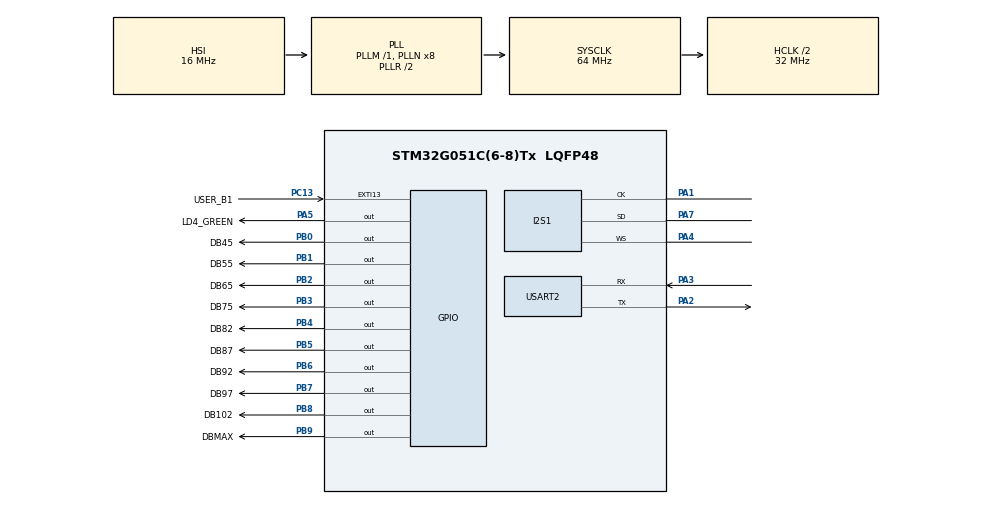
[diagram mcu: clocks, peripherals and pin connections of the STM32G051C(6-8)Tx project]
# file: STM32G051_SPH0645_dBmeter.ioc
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Dma.Request0=SPI1_RX
Dma.SPI1_RX.0.Direction=DMA_PERIPH_TO_MEMORY
Dma.SPI1_RX.0.EventEnable=DISABLE
Dma.SPI1_RX.0.Instance=DMA1_Channel1
Dma.SPI1_RX.0.MemDataAlignment=DMA_MDATAALIGN_HALFWORD
Dma.SPI1_RX.0.MemInc=DMA_MINC_ENABLE
Dma.SPI1_RX.0.Mode=DMA_CIRCULAR
Dma.SPI1_RX.0.PeriphDataAlignment=DMA_PDATAALIGN_HALFWORD
Dma.SPI1_RX.0.PeriphInc=DMA_PINC_DISABLE
Dma.SPI1_RX.0.Polarity=HAL_DMAMUX_REQ_GEN_RISING
Dma.SPI1_RX.0.Priority=DMA_PRIORITY_LOW
Dma.SPI1_RX.0.RequestNumber=1
Dma.SPI1_RX.0.SignalID=NONE
Dma.SPI1_RX.0.SyncEnable=DISABLE
Dma.SPI1_RX.0.SyncPolarity=HAL_DMAMUX_SYNC_NO_EVENT
Dma.SPI1_RX.0.SyncRequestNumber=1
Dma.SPI1_RX.0.SyncSignalID=NONE
I2S1.AudioFreq=I2S_AUDIOFREQ_16K
I2S1.DataFormat=I2S_DATAFORMAT_24B
I2S1.ErrorAudioFreq=-0.79 %
I2S1.FullDuplexMode=I2S_FULLDUPLEXMODE_DISABLE
I2S1.Instance=SPI$Index
I2S1.Mode=I2S_MODE_MASTER_RX
I2S1.RealAudioFreq=15.873 KHz
I2S1.VirtualMode=I2S_MODE_MASTER
Mcu.Family=STM32G0
Mcu.Name=STM32G051C(6-8)Tx
Mcu.Package=LQFP48
Mcu.UserConstants=TMR3_RES_FREQ_KHZ,1;TMR3_PERIOD,((TMR3_RES_FREQ_KHZ*MIC_SETTLING_PERIOD_MS)-1);TMR3_PRESCALER,((SYSCLK_FREQ_HZ/(1000*TMR3_RES_FREQ_KHZ))-1);SYSCLK_FREQ_HZ,32000000U
NVIC.DMA1_Channel1_IRQn=true\:2\:0\:true\:false\:true\:false\:true\:true
NVIC.SPI1_IRQn=true\:1\:0\:true\:false\:true\:true\:true\:true
PA1.GPIO_Speed=GPIO_SPEED_FREQ_MEDIUM
PA1.Mode=Half_Duplex_Master
PA1.Signal=I2S1_CK
PA13.Mode=Serial_Wire
PA13.Signal=SYS_SWDIO
PA14-BOOT0.Mode=Serial_Wire
PA14-BOOT0.Signal=SYS_SWCLK
PA2.GPIO_Speed=GPIO_SPEED_FREQ_MEDIUM
PA2.Mode=Asynchronous
PA2.Signal=USART2_TX
PA3.GPIO_Speed=GPIO_SPEED_FREQ_MEDIUM
PA3.Mode=Asynchronous
PA3.Signal=USART2_RX
PA4.GPIO_Speed=GPIO_SPEED_FREQ_MEDIUM
PA4.Mode=Half_Duplex_Master
PA4.Signal=I2S1_WS
PA5.GPIO_Label=LD4_GREEN
PA5.Signal=GPIO_Output
PA7.GPIO_PuPd=GPIO_PULLDOWN
PA7.GPIO_Speed=GPIO_SPEED_FREQ_MEDIUM
PA7.Mode=Half_Duplex_Master
PA7.Signal=I2S1_SD
PB0.GPIO_Label=DB45
PB0.GPIO_Speed=GPIO_SPEED_FREQ_HIGH
PB0.Signal=GPIO_Output
PB1.GPIO_Label=DB55
PB1.GPIO_Speed=GPIO_SPEED_FREQ_HIGH
PB1.Signal=GPIO_Output
PB2.GPIO_Label=DB65
PB2.GPIO_Speed=GPIO_SPEED_FREQ_HIGH
PB2.Signal=GPIO_Output
PB3.GPIO_Label=DB75
PB3.GPIO_Speed=GPIO_SPEED_FREQ_HIGH
PB3.Signal=GPIO_Output
PB4.GPIO_Label=DB82
PB4.GPIO_Speed=GPIO_SPEED_FREQ_HIGH
PB4.Signal=GPIO_Output
PB5.GPIO_Label=DB87
PB5.GPIO_Speed=GPIO_SPEED_FREQ_HIGH
PB5.Signal=GPIO_Output
PB6.GPIO_Label=DB92
PB6.GPIO_Speed=GPIO_SPEED_FREQ_HIGH
PB6.Signal=GPIO_Output
PB7.GPIO_Label=DB97
PB7.GPIO_Speed=GPIO_SPEED_FREQ_HIGH
PB7.Signal=GPIO_Output
PB8.GPIO_Label=DB102
PB8.GPIO_Speed=GPIO_SPEED_FREQ_HIGH
PB8.Signal=GPIO_Output
PB9.GPIO_Label=DBMAX
PB9.GPIO_Speed=GPIO_SPEED_FREQ_HIGH
PB9.Signal=GPIO_Output
PC13.GPIO_Label=USER_B1
PC13.Signal=GPXTI13
ProjectManager.HeapSize=0x200
ProjectManager.StackSize=0x400
ProjectManager.TargetToolchain=STM32CubeIDE
RCC.ADCFreq_Value=64000000
RCC.AHBCLKDivider=RCC_SYSCLK_DIV2
RCC.AHBFreq_Value=32000000
RCC.CortexFreq_Value=32000000
RCC.EXTERNAL_CLOCK_VALUE=48000
RCC.HCLKFreq_Value=32000000
RCC.HSE_VALUE=8000000
RCC.HSI_VALUE=16000000
RCC.LSE_VALUE=32768
RCC.SYSCLKFreq_VALUE=64000000
RCC.SYSCLKSource=RCC_SYSCLKSOURCE_PLLCLK
RCC.VCOOutputFreq_Value=128000000
TIM3.Period=TMR3_PERIOD
TIM3.Prescaler=TMR3_PRESCALER
USART2.VirtualMode-Asynchronous=VM_ASYNC
VP_SYS_VS_DBSignals.Mode=DisableDeadBatterySignals
VP_TIM3_VS_ClockSourceINT.Mode=Internal
board=custom

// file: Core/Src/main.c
/* USER CODE BEGIN Header */
/**
  ******************************************************************************
  * @file           : main.c
  * @brief          : Main program body
  ******************************************************************************
  * @attention
  *
  * Copyright (c) 2024 STMicroelectronics.
  * All rights reserved.
  *
  * This software is licensed under terms that can be found in the LICENSE file
  * in the root directory of this software component.
  * If no LICENSE file comes with this software, it is provided AS-IS.
  *
  ******************************************************************************
  */
/* USER CODE END Header */
#include "main.h"

/* USER CODE BEGIN Includes */
// Demo program for decibel sound meter project.
// Define TESTS to run system tests, otherwise the program
// will continually print A-weighted sound pressure level (SPL dBA)
// and peak sound amplitude (mPa) over the serial port.

#include <stdbool.h>
#include "print_functions.h"
#include "sound_measurement.h"
#include <string.h>

/* USER CODE END Includes */

I2S_HandleTypeDef hi2s1;
DMA_HandleTypeDef hdma_spi1_rx;

TIM_HandleTypeDef htim3;

UART_HandleTypeDef huart2;

/* USER CODE BEGIN PV */
static const char msg[20] = "STM32G051 Ready\r\n";
/* USER CODE END PV */

void SystemClock_Config(void);
static void MX_GPIO_Init(void);
static void MX_DMA_Init(void);
static void MX_I2S1_Init(void);
static void MX_TIM3_Init(void);
static void MX_USART2_UART_Init(void);
/* USER CODE BEGIN PFP */
static void updateLed(uint8_t dB);
void printString(const char *str, uint16_t length);

/* USER CODE END PFP */

int main(void)
{

  /* MCU Configuration--------------------------------------------------------*/

  /* Reset of all peripherals, Initializes the Flash interface and the Systick. */
  HAL_Init();

  /* Configure the system clock */
  SystemClock_Config();

  /* Initialize all configured peripherals */
  MX_GPIO_Init();
  MX_DMA_Init();
  MX_I2S1_Init();
  MX_TIM3_Init();
  MX_USART2_UART_Init();
  /* USER CODE BEGIN 2 */
  printString(msg, strlen(msg));
  printString("SPL [dB] Pressure [mPa]\r\n", 25);
//  if (!soundInit(DMA_Init, I2S1_Init, TIM3_Init, DMA1_Channel1_IRQn))
//  {
//    Error_Handler();
//  }

#ifdef TESTS
       test_soundSystem();
#else
       if (!enableMicrophone(true))
       {
         Error_Handler();
       }

       SoundData_t soundData = {0};
       if (!startSPLcalculation())
       {
         Error_Handler();
       }

  /* USER CODE END 2 */

  /* Infinite loop */
  /* USER CODE BEGIN WHILE */
  while (1)
  {
    if (getSoundData(&soundData, true, true))
    {
      clearMaximumAmplitude();
      print("%u.%u  %u.%02u  %u\n", soundData.SPL_dBA_int,
                                    soundData.SPL_dBA_fr_1dp, soundData.peak_amp_mPa_int,
                                    soundData.peak_amp_mPa_fr_2dp, soundData.stable);
      // update Leds only when Settling time is complete
      if (soundData.stable == 1)
        updateLed(soundData.SPL_dBA_int);

      if (!startSPLcalculation())
      {
        Error_Handler();
      }
    }
#endif
    /* USER CODE END WHILE */

  }
}

void SystemClock_Config(void)
{
  RCC_OscInitTypeDef RCC_OscInitStruct = {0};
  RCC_ClkInitTypeDef RCC_ClkInitStruct = {0};

  /** Configure the main internal regulator output voltage
  */
  HAL_PWREx_ControlVoltageScaling(PWR_REGULATOR_VOLTAGE_SCALE1);

  /** Initializes the RCC Oscillators according to the specified parameters
  * in the RCC_OscInitTypeDef structure.
  */
  RCC_OscInitStruct.OscillatorType = RCC_OSCILLATORTYPE_HSI;
  RCC_OscInitStruct.HSIState = RCC_HSI_ON;
  RCC_OscInitStruct.HSIDiv = RCC_HSI_DIV1;
  RCC_OscInitStruct.HSICalibrationValue = RCC_HSICALIBRATION_DEFAULT;
  RCC_OscInitStruct.PLL.PLLState = RCC_PLL_ON;
  RCC_OscInitStruct.PLL.PLLSource = RCC_PLLSOURCE_HSI;
  RCC_OscInitStruct.PLL.PLLM = RCC_PLLM_DIV1;
  RCC_OscInitStruct.PLL.PLLN = 8;
  RCC_OscInitStruct.PLL.PLLP = RCC_PLLP_DIV2;
  RCC_OscInitStruct.PLL.PLLQ = RCC_PLLQ_DIV2;
  RCC_OscInitStruct.PLL.PLLR = RCC_PLLR_DIV2;
  if (HAL_RCC_OscConfig(&RCC_OscInitStruct) != HAL_OK)
  {
    Error_Handler();
  }

  /** Initializes the CPU, AHB and APB buses clocks
  */
  RCC_ClkInitStruct.ClockType = RCC_CLOCKTYPE_HCLK|RCC_CLOCKTYPE_SYSCLK
                              |RCC_CLOCKTYPE_PCLK1;
  RCC_ClkInitStruct.SYSCLKSource = RCC_SYSCLKSOURCE_PLLCLK;
  RCC_ClkInitStruct.AHBCLKDivider = RCC_SYSCLK_DIV2;
  RCC_ClkInitStruct.APB1CLKDivider = RCC_HCLK_DIV1;

  if (HAL_RCC_ClockConfig(&RCC_ClkInitStruct, FLASH_LATENCY_1) != HAL_OK)
  {
    Error_Handler();
  }
}

static void MX_I2S1_Init(void)
{

  hi2s1.Instance = SPI1;
  hi2s1.Init.Mode = I2S_MODE_MASTER_RX;
  hi2s1.Init.Standard = I2S_STANDARD_PHILIPS;
  hi2s1.Init.DataFormat = I2S_DATAFORMAT_24B;
  hi2s1.Init.MCLKOutput = I2S_MCLKOUTPUT_DISABLE;
  hi2s1.Init.AudioFreq = I2S_AUDIOFREQ_16K;
  hi2s1.Init.CPOL = I2S_CPOL_LOW;
  if (HAL_I2S_Init(&hi2s1) != HAL_OK)
  {
    Error_Handler();
  }

}

static void MX_TIM3_Init(void)
{

  TIM_ClockConfigTypeDef sClockSourceConfig = {0};
  TIM_MasterConfigTypeDef sMasterConfig = {0};

  htim3.Instance = TIM3;
  htim3.Init.Prescaler = TMR3_PRESCALER;
  htim3.Init.CounterMode = TIM_COUNTERMODE_UP;
  htim3.Init.Period = TMR3_PERIOD;
  htim3.Init.ClockDivision = TIM_CLOCKDIVISION_DIV1;
  htim3.Init.AutoReloadPreload = TIM_AUTORELOAD_PRELOAD_DISABLE;
  if (HAL_TIM_Base_Init(&htim3) != HAL_OK)
  {
    Error_Handler();
  }
  sClockSourceConfig.ClockSource = TIM_CLOCKSOURCE_INTERNAL;
  if (HAL_TIM_ConfigClockSource(&htim3, &sClockSourceConfig) != HAL_OK)
  {
    Error_Handler();
  }
  sMasterConfig.MasterOutputTrigger = TIM_TRGO_RESET;
  sMasterConfig.MasterSlaveMode = TIM_MASTERSLAVEMODE_DISABLE;
  if (HAL_TIMEx_MasterConfigSynchronization(&htim3, &sMasterConfig) != HAL_OK)
  {
    Error_Handler();
  }
  /* USER CODE BEGIN TIM3_Init 2 */
  // Initialising the time base causes the UIF flag to get set: clear it.
  __HAL_TIM_CLEAR_FLAG(&htim3, TIM_SR_UIF);
  /* USER CODE END TIM3_Init 2 */

}

static void MX_USART2_UART_Init(void)
{

  huart2.Instance = USART2;
  huart2.Init.BaudRate = 115200;
  huart2.Init.WordLength = UART_WORDLENGTH_8B;
  huart2.Init.StopBits = UART_STOPBITS_1;
  huart2.Init.Parity = UART_PARITY_NONE;
  huart2.Init.Mode = UART_MODE_TX_RX;
  huart2.Init.HwFlowCtl = UART_HWCONTROL_NONE;
  huart2.Init.OverSampling = UART_OVERSAMPLING_16;
  huart2.Init.OneBitSampling = UART_ONE_BIT_SAMPLE_DISABLE;
  huart2.Init.ClockPrescaler = UART_PRESCALER_DIV1;
  huart2.AdvancedInit.AdvFeatureInit = UART_ADVFEATURE_NO_INIT;
  if (HAL_UART_Init(&huart2) != HAL_OK)
  {
    Error_Handler();
  }

}

static void MX_DMA_Init(void)
{

  /* DMA controller clock enable */
  __HAL_RCC_DMA1_CLK_ENABLE();

  /* DMA interrupt init */
  /* DMA1_Channel1_IRQn interrupt configuration */
  HAL_NVIC_SetPriority(DMA1_Channel1_IRQn, 2, 0);
  HAL_NVIC_EnableIRQ(DMA1_Channel1_IRQn);

}

static void MX_GPIO_Init(void)
{
  GPIO_InitTypeDef GPIO_InitStruct = {0};

  /* GPIO Ports Clock Enable */
  __HAL_RCC_GPIOC_CLK_ENABLE();
  __HAL_RCC_GPIOA_CLK_ENABLE();
  __HAL_RCC_GPIOB_CLK_ENABLE();

  /*Configure GPIO pin Output Level */
  HAL_GPIO_WritePin(LD4_GREEN_GPIO_Port, LD4_GREEN_Pin, GPIO_PIN_RESET);

  /*Configure GPIO pin Output Level */
  HAL_GPIO_WritePin(GPIOB, DB45_Pin|DB55_Pin|DB65_Pin|DB75_Pin
                          |DB82_Pin|DB87_Pin|DB92_Pin|DB97_Pin
                          |DB102_Pin|DBMAX_Pin, GPIO_PIN_RESET);

  /*Configure GPIO pin : USER_B1_Pin */
  GPIO_InitStruct.Pin = USER_B1_Pin;
  GPIO_InitStruct.Mode = GPIO_MODE_IT_RISING;
  GPIO_InitStruct.Pull = GPIO_NOPULL;
  HAL_GPIO_Init(USER_B1_GPIO_Port, &GPIO_InitStruct);

  /*Configure GPIO pin : LD4_GREEN_Pin */
  GPIO_InitStruct.Pin = LD4_GREEN_Pin;
  GPIO_InitStruct.Mode = GPIO_MODE_OUTPUT_PP;
  GPIO_InitStruct.Pull = GPIO_NOPULL;
  GPIO_InitStruct.Speed = GPIO_SPEED_FREQ_LOW;
  HAL_GPIO_Init(LD4_GREEN_GPIO_Port, &GPIO_InitStruct);

  /*Configure GPIO pins : DB45_Pin DB55_Pin DB65_Pin DB75_Pin
                           DB82_Pin DB87_Pin DB92_Pin DB97_Pin
                           DB102_Pin DBMAX_Pin */
  GPIO_InitStruct.Pin = DB45_Pin|DB55_Pin|DB65_Pin|DB75_Pin
                          |DB82_Pin|DB87_Pin|DB92_Pin|DB97_Pin
                          |DB102_Pin|DBMAX_Pin;
  GPIO_InitStruct.Mode = GPIO_MODE_OUTPUT_PP;
  GPIO_InitStruct.Pull = GPIO_NOPULL;
  GPIO_InitStruct.Speed = GPIO_SPEED_FREQ_HIGH;
  HAL_GPIO_Init(GPIOB, &GPIO_InitStruct);

/* USER CODE BEGIN MX_GPIO_Init_2 */
  HAL_GPIO_WritePin(GPIOB, GPIO_PIN_0, GPIO_PIN_SET);
  HAL_Delay(25);
  HAL_GPIO_WritePin(GPIOB, GPIO_PIN_0, GPIO_PIN_RESET);
  HAL_Delay(25);
  HAL_GPIO_WritePin(GPIOB, GPIO_PIN_1, GPIO_PIN_SET);
  HAL_Delay(25);
  HAL_GPIO_WritePin(GPIOB, GPIO_PIN_1, GPIO_PIN_RESET);
  HAL_Delay(25);
  HAL_GPIO_WritePin(GPIOB, GPIO_PIN_2, GPIO_PIN_SET);
  HAL_Delay(25);
  HAL_GPIO_WritePin(GPIOB, GPIO_PIN_2, GPIO_PIN_RESET);
  HAL_Delay(25);
  HAL_GPIO_WritePin(GPIOB, GPIO_PIN_3, GPIO_PIN_SET);
  HAL_Delay(25);
  HAL_GPIO_WritePin(GPIOB, GPIO_PIN_3, GPIO_PIN_RESET);
  HAL_Delay(25);
  HAL_GPIO_WritePin(GPIOB, GPIO_PIN_4, GPIO_PIN_SET);
  HAL_Delay(25);
  HAL_GPIO_WritePin(GPIOB, GPIO_PIN_4, GPIO_PIN_RESET);
  HAL_Delay(25);
  HAL_GPIO_WritePin(GPIOB, GPIO_PIN_5, GPIO_PIN_SET);
  HAL_Delay(25);
  HAL_GPIO_WritePin(GPIOB, GPIO_PIN_5, GPIO_PIN_RESET);
  HAL_Delay(25);
  HAL_GPIO_WritePin(GPIOB, GPIO_PIN_6, GPIO_PIN_SET);
  HAL_Delay(25);
  HAL_GPIO_WritePin(GPIOB, GPIO_PIN_6, GPIO_PIN_RESET);
  HAL_Delay(25);
  HAL_GPIO_WritePin(GPIOB, GPIO_PIN_7, GPIO_PIN_SET);
  HAL_Delay(25);
  HAL_GPIO_WritePin(GPIOB, GPIO_PIN_7, GPIO_PIN_RESET);
  HAL_Delay(25);
  HAL_GPIO_WritePin(GPIOB, GPIO_PIN_8, GPIO_PIN_SET);
  HAL_Delay(25);
  HAL_GPIO_WritePin(GPIOB, GPIO_PIN_8, GPIO_PIN_RESET);
  HAL_Delay(25);
  HAL_GPIO_WritePin(GPIOB, GPIO_PIN_9, GPIO_PIN_SET);
  HAL_Delay(25);
  HAL_GPIO_WritePin(GPIOB, GPIO_PIN_9, GPIO_PIN_RESET);

  /* USER CODE END MX_GPIO_Init_2 */
}

/* USER CODE BEGIN 4 */

static void updateLed(uint8_t dB)
{
  static uint16_t pin;

  if (dB < 40)
    pin = GPIO_PIN_0;
  else if (dB < 55)
    pin = GPIO_PIN_0 | GPIO_PIN_1;
  else if (dB < 65)
    pin = GPIO_PIN_0 | GPIO_PIN_1 | GPIO_PIN_2;
  else if (dB < 75)
    pin = GPIO_PIN_0 | GPIO_PIN_1 | GPIO_PIN_2 | GPIO_PIN_3;
  else if (dB < 82)
    pin = GPIO_PIN_0 | GPIO_PIN_1 | GPIO_PIN_2 | GPIO_PIN_3 | GPIO_PIN_4;
  else if (dB < 87)
    pin = GPIO_PIN_0 | GPIO_PIN_1 | GPIO_PIN_2 | GPIO_PIN_3 | GPIO_PIN_4 | GPIO_PIN_5;
  else if (dB < 92)
    pin = GPIO_PIN_0 | GPIO_PIN_1 | GPIO_PIN_2 | GPIO_PIN_3 | GPIO_PIN_4 | GPIO_PIN_5 | GPIO_PIN_6;
  else if (dB < 97)
    pin = GPIO_PIN_0 | GPIO_PIN_1 | GPIO_PIN_2 | GPIO_PIN_3 | GPIO_PIN_4 | GPIO_PIN_5 | GPIO_PIN_6 | GPIO_PIN_7;
  else if (dB < 102)
    pin = GPIO_PIN_0 | GPIO_PIN_1 | GPIO_PIN_2 | GPIO_PIN_3 | GPIO_PIN_4 | GPIO_PIN_5 | GPIO_PIN_6 | GPIO_PIN_7 | GPIO_PIN_8;
  else
    pin = GPIO_PIN_0 | GPIO_PIN_1 | GPIO_PIN_2 | GPIO_PIN_3 | GPIO_PIN_4 | GPIO_PIN_5 | GPIO_PIN_6 | GPIO_PIN_7 | GPIO_PIN_8 | GPIO_PIN_9;

  GPIOB->ODR &= (uint16_t)0xFC00;
  HAL_Delay(1);
  GPIOB->ODR |= (uint16_t)pin;
}

void printString(const char *str, uint16_t length)
{
    // Check if the input string is not NULL
    if (str == NULL) {
        return;
    }

    // Transmit the string up to the specified length
    HAL_UART_Transmit(&huart2, (uint8_t *)str, length, HAL_MAX_DELAY);
}

/* USER CODE END 4 */

void Error_Handler(void)
{
  __disable_irq();
  while (1)
  {
  }
}
